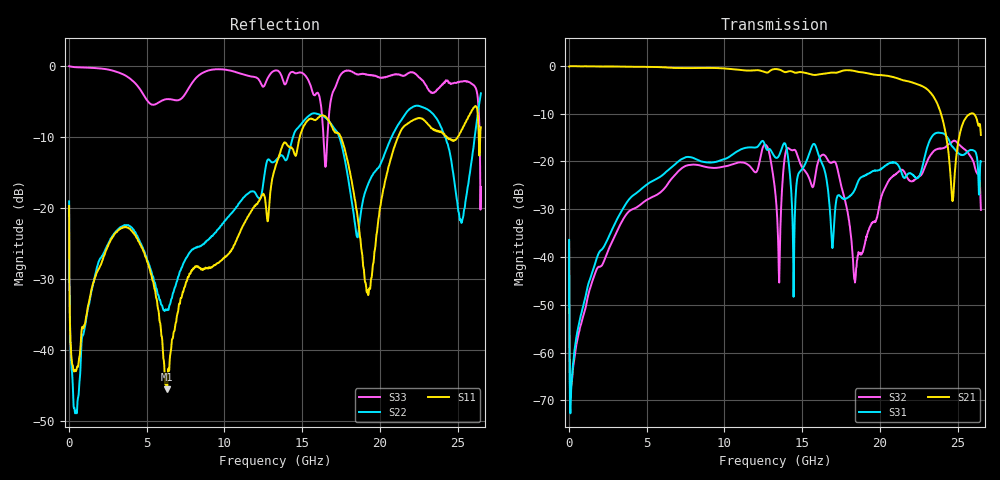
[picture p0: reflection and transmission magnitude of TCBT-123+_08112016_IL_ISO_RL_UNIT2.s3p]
!Mini-Circuits Lab.
!S-parameters
!MODEL: TCBT-123+;
!S/N: Unit 2
!Run: MHU0690; Date Code:1624;
!Created: 08-11-2016 at 12:22:48
!Connection: Port 1 to RF & DC (pin 1), Port 2 to RF( pin 2), Port 3 to DC (pin 3), pin 4- not used;
!Tested with PNA-x Network Analyzer N5242, S/N 74302, Cal.Due: 03/23/17.TEST BOARD -TB-879+ ;
# MHZ S DB R 50
!Frequency  S11 dB  S11 DEG  S12 dB  S12 DEG  S13 dB  S13 DEG
!  S21 dB  S21 DEG  S22 dB  S22 DEG  S23 dB  S23 DEG
!  S31 dB  S31 DEG  S32 dB  S32 DEG  S33 dB  S33 DEG
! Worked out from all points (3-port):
!   1066 points, 10 MHz to 26.5 GHz, reference 50 ohm
!   strongest paths, dB at 10 MHz, 6.525 GHz, 13.2 GHz, 19.85 GHz, 26.5 GHz:
!     S21: -0.2, -0.4, -0.7, -1.9, -14.5
!     S31: -36.4, -21.4, -18.9, -21.9, -20.0
!     S32: -36.7, -23.9, -24.5, -31.2, -30.2
!   lowest |S11| = -45.5 dB at 6.3 GHz (marker M1), VSWR 1.01, Z = 50.5 + j0.0637 ohm
!   |S11| at or under -10 dB: start of sweep to 14.85 GHz; 17.49 GHz to 21.18 GHz (3.693 GHz wide, 19.1 % of centre); 24.29 GHz to 25.02 GHz (731.3 MHz wide, 2.97 % of centre)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
10  -19.72 72.1  -0.17 21.0  -36.50 -170.5
    -0.17 21.0  -19.08 158.5  -36.78 -151.2
    -36.43 -170.4  -36.73 -151.2  -0.05 -178.2
425  -42.94 8.1  -0.10 -1.2  -57.80 101.3
     -0.10 -1.2  -48.57 17.1  -59.31 -100.5
     -57.80 100.3  -59.37 -100.5  -0.20 -175.9
3700  -22.71 -95.7  -0.20 -11.4  -28.69 124.8
      -0.20 -11.4  -22.42 -110.8  -31.05 174.7
      -28.69 124.9  -31.04 174.7  -1.46 167.4
6300  -45.54 6.8  -0.37 -20.1  -22.05 97.0
      -0.37 -20.1  -34.41 -172.5  -25.01 132.1
      -22.05 97.0  -25.01 132.5  -4.69 -132.1
9900  -27.16 77.5  -0.55 -33.9  -19.64 53.8
      -0.54 -33.8  -22.17 95.3  -21.13 60.2
      -19.65 53.6  -21.15 60.1  -0.52 2.0
13275  -14.27 30.7  -0.69 -47.2  -19.22 1.4
       -0.69 -47.1  -13.38 47.4  -26.46 -30.8
       -19.16 0.8  -26.57 -30.6  -0.67 138.6
15975  -7.46 26.0  -1.86 -59.2  -17.74 -53.6
       -1.86 -59.2  -6.77 31.4  -20.72 55.1
       -17.79 -53.9  -20.73 54.9  -3.80 -112.1
17625  -10.82 25.2  -1.01 -68.6  -27.78 -107.4
       -1.02 -68.6  -11.92 20.6  -26.54 -46.5
       -27.80 -107.6  -26.45 -47.0  -0.89 17.2
19250  -32.29 15.2  -1.61 -86.5  -22.36 -174.6
       -1.60 -86.6  -16.62 99.9  -34.09 -169.5
       -22.58 -174.0  -34.54 -166.5  -1.27 76.1
26500  -8.66 74.2  -14.47 -101.5  -20.19 -109.9
       -14.47 -101.4  -3.88 100.6  -30.31 -38.1
       -20.02 -110.6  -30.16 -36.4  -17.05 81.7
